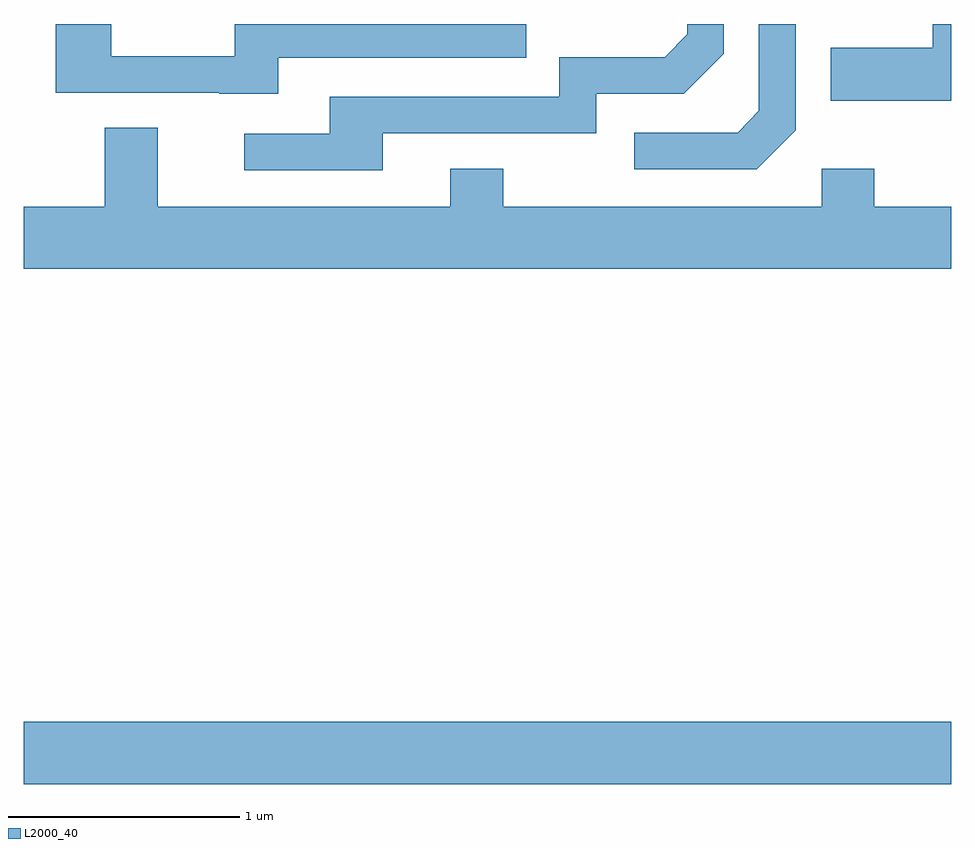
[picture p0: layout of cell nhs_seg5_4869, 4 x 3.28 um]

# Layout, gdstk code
import gdstk
lib = gdstk.Library(unit=1e-6, precision=1e-09)
def R(c, l, rs):  # rectangles x0, y0, x1, y1
    for r in rs: c.add(gdstk.rectangle(r[:2], r[2:], *l))
def P(c, l, *ps):  # polygons
    for p in ps: c.add(gdstk.Polygon(p, *l))
L2000_40 = (2000, 40)

nhs_seg5_4869 = lib.new_cell('nhs_seg5_4869')
R(nhs_seg5_4869, L2000_40, [(329.611,1456.796,333.611,1457.064)])
P(nhs_seg5_4869, L2000_40, [(332.939,1459.614),(332.939,1460.072),(332.781,1460.072),(332.781,1459.697),(332.689,1459.604),(332.243,1459.604),(332.243,1459.446),(332.772,1459.446)],
  [(333.611,1460.072),(333.531,1460.072),(333.531,1459.969),(333.091,1459.969),(333.091,1459.741),(333.611,1459.741)],
  [(331.159,1459.601),(332.079,1459.601),(332.079,1459.771),(332.457,1459.771),(332.629,1459.944),(332.629,1460.072),(332.471,1460.072),(332.471,1460.027),(332.374,1459.929),(331.921,1459.929),(331.921,1459.759),(330.931,1459.759),(330.931,1459.599),(330.563,1459.599),(330.563,1459.441),(331.159,1459.441)],
  [(330.709,1459.926),(331.778,1459.926),(331.778,1460.072),(330.521,1460.072),(330.521,1459.934),(329.989,1459.934),(329.989,1460.072),(329.751,1460.072),(329.751,1459.776),(330.455,1459.776),(330.455,1459.771),(330.709,1459.771)],
  [(333.611,1459.284),(333.279,1459.284),(333.279,1459.449),(333.051,1459.449),(333.051,1459.284),(331.679,1459.284),(331.679,1459.449),(331.451,1459.449),(331.451,1459.284),(330.189,1459.284),(330.189,1459.624),(329.961,1459.624),(329.961,1459.284),(329.611,1459.284),(329.611,1459.016),(333.611,1459.016)])

lib.write_gds('nhs_seg5_4869.gds')
